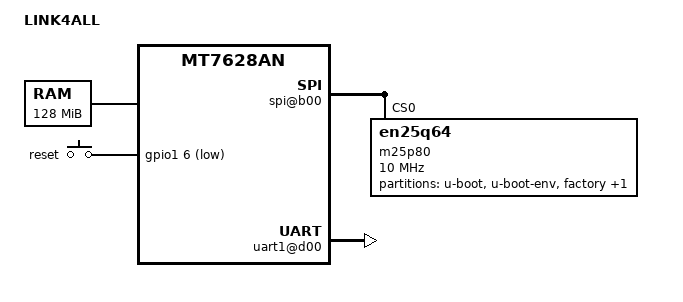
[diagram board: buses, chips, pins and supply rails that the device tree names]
/dts-v1/;

/include/ "mt7628an.dtsi"

/ {
	compatible = "mediatek,mt7628an-eval-board", "mediatek,mt7628an-soc";
	model = "LINK4ALL";

	memory@0 {
		device_type = "memory";
		reg = <0x0 0x8000000>;
	};

	pinctrl {
		state_default: pinctrl0 {
			gpio {
				ralink,group = "i2c", "jtag";
				ralink,function = "gpio";
			};
		};
	};

	palmbus@10000000 {
		spi@b00 {
			status = "okay";

			m25p80@0 {
				#address-cells = <1>;
				#size-cells = <1>;
				compatible = "en25q64";
				reg = <0 0>;
				linux,modalias = "m25p80", "en25q64";
				spi-max-frequency = <10000000>;
				m25p,chunked-io = <32>;

				partition@0 {
					label = "u-boot";
					reg = <0x0 0x30000>;
					#read-only;
				};

				partition@30000 {
					label = "u-boot-env";
					reg = <0x30000 0x10000>;
					read-only;
				};

				factory: partition@40000 {
					label = "factory";
					reg = <0x40000 0x10000>;
					#read-only;
				};

				partition@50000 {
					label = "firmware";
					reg = <0x50000 0xfb0000>;
				};
			};

		};
		uart1@d00 {
			status = "okay";
		};
	};
	ethernet@10100000 {
		mtd-mac-address = <&factory 0x28>;
	};
	gpio-keys-polled {
		compatible = "gpio-keys-polled";
		#address-cells = <1>;
		#size-cells = <0>;
		poll-interval = <20>;
		reset {
			label = "reset";
			gpios = <&gpio1 6 1>; //gpio38 uart1_tx
			linux,code = <0x198>;
			
		};
	};
};
